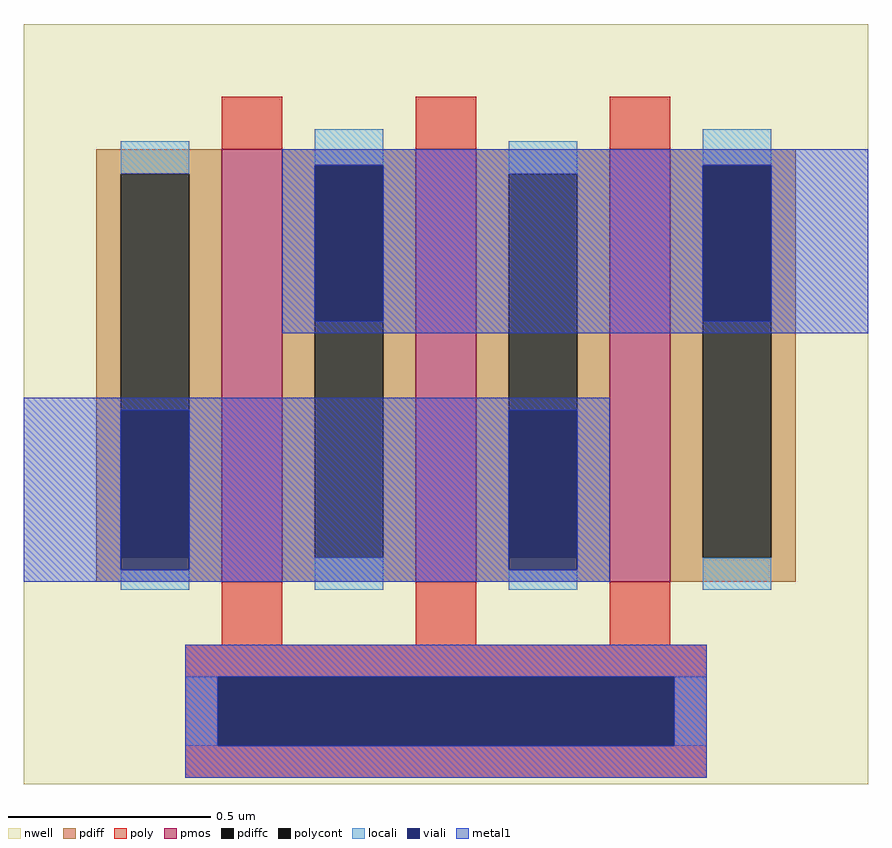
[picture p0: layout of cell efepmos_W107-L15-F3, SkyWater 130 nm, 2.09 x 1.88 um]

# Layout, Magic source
magic
tech sky130B
magscale 1 2
<< nwell >>
rect -209 -207 209 169
<< pmos >>
rect -111 -107 -81 107
rect -15 -107 15 107
rect 81 -107 111 107
<< pdiff >>
rect -173 95 -111 107
rect -173 -95 -161 95
rect -127 -95 -111 95
rect -173 -107 -111 -95
rect -81 99 -15 107
rect -81 -95 -65 99
rect -31 -95 -15 99
rect -81 -107 -15 -95
rect 15 95 81 107
rect 15 -95 31 95
rect 65 -95 81 95
rect 15 -107 81 -95
rect 111 99 173 107
rect 111 -95 127 99
rect 161 -95 173 99
rect 111 -107 173 -95
<< pdiffc >>
rect -161 -95 -127 95
rect -65 -95 -31 99
rect 31 -95 65 95
rect 127 -95 161 99
<< poly >>
rect -111 107 -81 133
rect -15 107 15 133
rect 81 107 111 133
rect -111 -138 -81 -107
rect -15 -138 15 -107
rect 81 -138 111 -107
rect -129 -154 129 -138
rect -129 -188 -113 -154
rect 113 -188 129 -154
rect -129 -204 129 -188
<< polycont >>
rect -113 -188 113 -154
<< locali >>
rect -161 95 -127 111
rect -161 -111 -127 -101
rect -65 99 -31 117
rect -65 -111 -31 -95
rect 31 95 65 111
rect 31 -111 65 -101
rect 127 99 161 117
rect 127 -111 161 -95
rect -129 -188 -113 -154
rect 113 -188 129 -154
<< viali >>
rect -161 -95 -127 -22
rect -161 -101 -127 -95
rect -65 22 -31 99
rect 31 -95 65 -22
rect 31 -101 65 -95
rect 127 22 161 99
rect -113 -188 113 -154
<< metal1 >>
rect -81 99 209 107
rect -81 22 -65 99
rect -31 22 127 99
rect 161 22 209 99
rect -81 16 209 22
rect -209 -22 81 -16
rect -209 -101 -161 -22
rect -127 -101 31 -22
rect 65 -101 81 -22
rect -209 -107 81 -101
rect -129 -154 129 -138
rect -129 -188 -113 -154
rect 113 -188 129 -154
rect -129 -204 129 -188
<< properties >>
string gencell sky130_fd_pr__pfet_01v8
string library sky130
string parameters w 1.07 l 0.15 m 1 nf 3 diffcov 100 polycov 100 guard 0 glc 1 grc 1 gtc 1 gbc 1 tbcov 100 rlcov 100 topc 0 botc 0 poverlap 0 doverlap 1 lmin 0.15 wmin 0.42 compatible {sky130_fd_pr__pfet_01v8  sky130_fd_pr__pfet_01v8_lvt sky130_fd_pr__pfet_01v8_hvt  sky130_fd_pr__pfet_g5v0d10v5} full_metal 1 viasrc 100 viadrn 100 viagate 100 viagb 0 viagr 0 viagl 0 viagt 0
<< end >>
